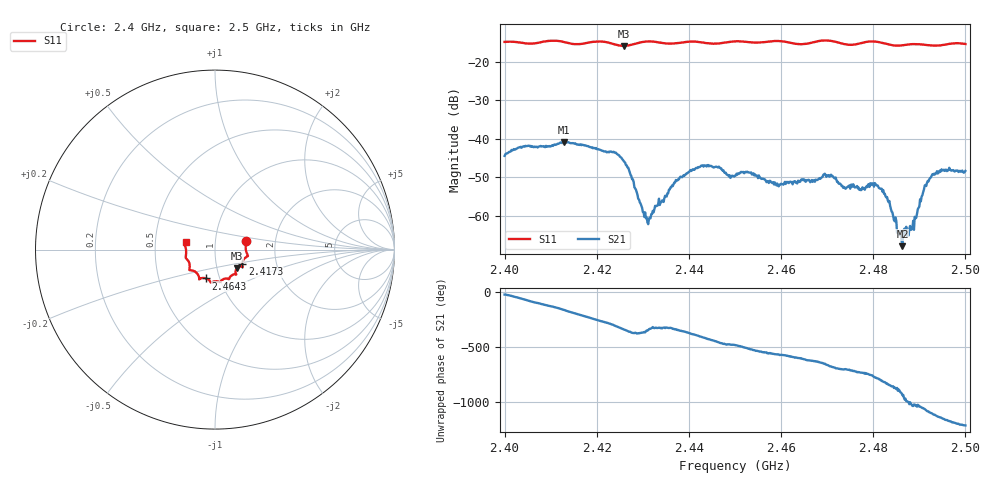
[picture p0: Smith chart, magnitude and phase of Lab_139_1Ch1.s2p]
# Hz S RI R 50
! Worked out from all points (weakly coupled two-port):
!   601 points, 2.4 GHz to 2.5 GHz, reference 50 ohm
!   highest |S21| = -40.85 dB at 2.4128 GHz (marker M1); lowest = -67.8 dB at 2.4863 GHz (marker M2)
!   lowest |S11| = -15.9 dB at 2.4258 GHz (marker M3), VSWR 1.38, Z = 62.3 - j13.3 ohm
!   |S11| at or under -10 dB: start of sweep to end of sweep
!   S12 and S22 are empty: the file has one direction only
!   S11 on the Smith chart (normalised r, x): 2.4 GHz: 1.41, +0.14; 2.4173 GHz: 1.34, -0.23; 2.4643 GHz: 0.86, -0.28; 2.5 GHz: 0.72, +0.06
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2.4e9  0.1734 0.0489  0.00551 -0.00239  0 0  0 0
2.412833e9  0.1754 -0.0406  -0.00865 -0.00274  0 0  0 0
2.416667e9  0.1526 -0.0744  -0.00704 0.00431  0 0  0 0
2.417333e9  0.1518 -0.0818  -0.00629 0.00526  0 0  0 0
2.425833e9  0.1217 -0.1038  0.00483 0.00183  0 0  0 0
2.430667e9  0.1185 -0.1383  0.000932 3.65e-05  0 0  0 0
2.433333e9  0.1129 -0.1373  0.00118 0.000812  0 0  0 0
2.437667e9  0.0836 -0.1527  0.00287 0.000799  0 0  0 0
2.4425e9  0.0721 -0.1632  0.00314 -0.00304  0 0  0 0
2.45e9  0.029 -0.1809  -0.00171 -0.00286  0 0  0 0
2.464333e9  -0.0499 -0.1605  -0.00148 0.00255  0 0  0 0
2.466667e9  -0.0759 -0.1592  -0.000265 0.00291  0 0  0 0
2.469667e9  -0.0883 -0.1661  0.00156 0.003  0 0  0 0
2.473833e9  -0.0961 -0.1381  0.00216 0.00078  0 0  0 0
2.480167e9  -0.1434 -0.1127  0.00151 -0.00187  0 0  0 0
2.483333e9  -0.1407 -0.0898  -0.000722 -0.00133  0 0  0 0
2.485833e9  -0.1484 -0.0643  -0.000633 8.79e-05  0 0  0 0
2.486333e9  -0.1511 -0.0602  -0.000325 0.000243  0 0  0 0
2.488667e9  -0.1621 -0.0469  0.0006 0.000622  0 0  0 0
2.491e9  -0.1621 -0.0343  0.00203 0.000822  0 0  0 0
2.492667e9  -0.1606 -0.0181  0.00313 -0.00108  0 0  0 0
2.5e9  -0.1638 0.0424  -0.00247 -0.00292  0 0  0 0
